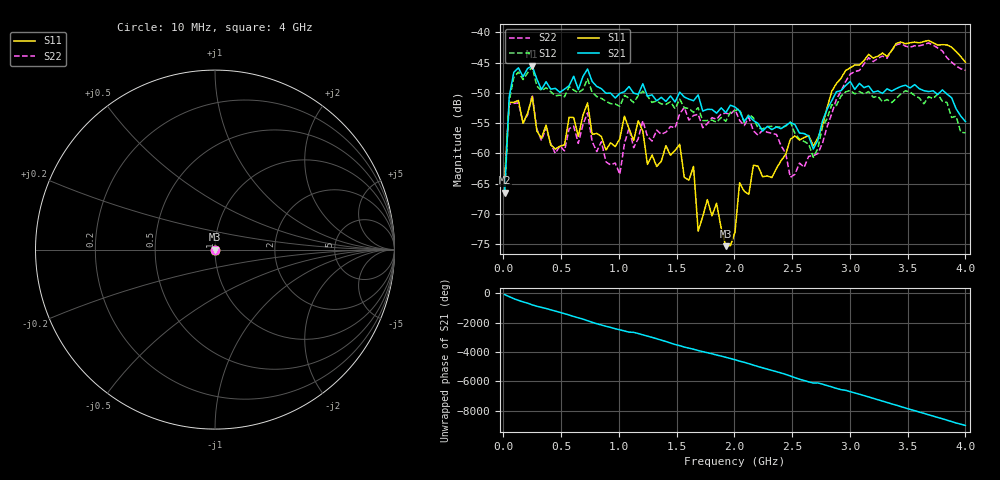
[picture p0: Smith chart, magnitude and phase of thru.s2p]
! PocketVna 1.81  pocketvna.com
! Live measurements ((Reflection-S11, Transmission-S21, Transmission-S12, Reflection-S22) Linear 10000000-4000000000/101 non-calibrated)
# GHz S MA R 50
! GHz  |S11|  <S11  |S21|  <S21  |S12|  <S12  |S22|  <S22
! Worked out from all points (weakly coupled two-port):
!   101 points, 10 MHz to 4 GHz, reference 50 ohm
!   highest |S21| = -45.55 dB at 249.4 MHz (marker M1); lowest = -66.5 dB at 10 MHz (marker M2)
!   lowest |S11| = -75.3 dB at 1.925 GHz (marker M3), VSWR 1.00, Z = 50 - j0.00124 ohm
!   |S11| at or under -10 dB: start of sweep to end of sweep
!   |S22| runs from -64.5 to -41.8 dB; largest |S21 - S12| = 0.0062
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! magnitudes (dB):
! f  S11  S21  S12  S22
! 10 MHz  -64.5  -66.5  -66.9  -64.5
! 49.9 MHz  -51.6  -50.6  -51.4  -51.9
! 89.8 MHz  -51.6  -46.6  -47.4  -51.7
! 249.4 MHz  -50.6  -45.6  -45.7  -50.3
! 448.9 MHz  -59.3  -49.3  -50.5  -60.0
! 688.3 MHz  -53.7  -47.3  -49.5  -55.3
! 1.008 GHz  -57.6  -50.1  -52.2  -63.5
! 1.087 GHz  -55.9  -49.0  -50.9  -55.8
! 1.367 GHz  -61.3  -50.7  -51.8  -56.8
! 1.526 GHz  -58.5  -49.9  -51.1  -53.5
! 1.646 GHz  -62.2  -51.3  -53.2  -53.7
! 1.686 GHz  -72.8  -50.3  -52.5  -53.5
! 1.845 GHz  -68.3  -53.3  -54.9  -54.4
! 1.925 GHz  -75.3  -53.3  -54.7  -53.4
! 2.005 GHz  -73.0  -52.3  -52.9  -52.8
! 2.045 GHz  -64.9  -53.0  -52.7  -54.6
! 2.165 GHz  -62.0  -54.6  -54.1  -56.3
! 2.484 GHz  -57.7  -54.9  -54.8  -64.0
! 2.683 GHz  -58.8  -59.3  -60.7  -60.4
! 2.963 GHz  -46.3  -48.8  -49.8  -48.1
! 3.362 GHz  -43.0  -49.7  -51.6  -43.0
! 4 GHz  -44.9  -54.7  -56.6  -46.3
